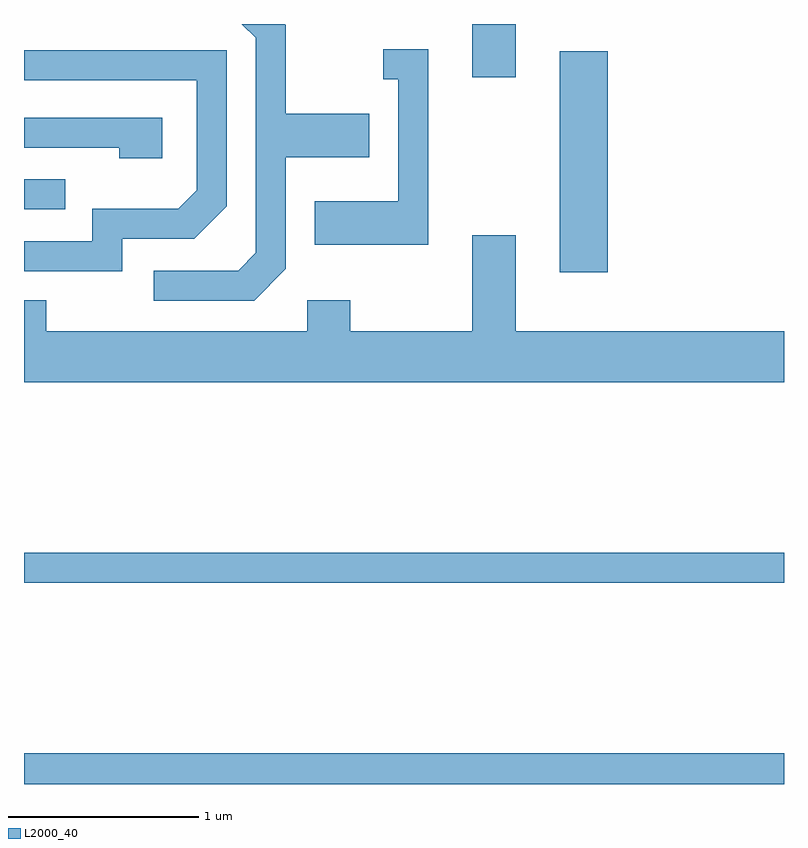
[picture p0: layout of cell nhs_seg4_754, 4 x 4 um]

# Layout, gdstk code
import gdstk
lib = gdstk.Library(unit=1e-6, precision=1e-09)
def R(c, l, rs):  # rectangles x0, y0, x1, y1
    for r in rs: c.add(gdstk.rectangle(r[:2], r[2:], *l))
def P(c, l, *ps):  # polygons
    for p in ps: c.add(gdstk.Polygon(p, *l))
L2000_40 = (2000, 40)

nhs_seg4_754 = lib.new_cell('nhs_seg4_754')
R(nhs_seg4_754, L2000_40, [(207.611,1265.982,211.611,1266.144), (207.611,1267.041,211.611,1267.199), (210.431,1268.676,210.684,1269.839), (207.611,1269.006,207.828,1269.164), (209.971,1269.701,210.199,1269.982)])
P(nhs_seg4_754, L2000_40, [(208.989,1268.694),(208.989,1269.281),(209.429,1269.281),(209.429,1269.509),(208.989,1269.509),(208.989,1269.977),(208.984,1269.982),(208.758,1269.982),(208.831,1269.909),(208.831,1268.777),(208.739,1268.684),(208.293,1268.684),(208.293,1268.526),(208.822,1268.526)],
  [(209.739,1269.849),(209.503,1269.849),(209.503,1269.691),(209.581,1269.691),(209.581,1269.049),(209.141,1269.049),(209.141,1268.821),(209.739,1268.821)],
  [(208.129,1268.851),(208.507,1268.851),(208.679,1269.024),(208.679,1269.844),(207.611,1269.844),(207.611,1269.686),(208.521,1269.686),(208.521,1269.107),(208.424,1269.009),(207.971,1269.009),(207.971,1268.839),(207.611,1268.839),(207.611,1268.681),(208.129,1268.681)],
  [(208.339,1269.489),(207.611,1269.489),(207.611,1269.331),(208.111,1269.331),(208.111,1269.276),(208.339,1269.276)],
  [(211.611,1268.364),(210.199,1268.364),(210.199,1268.869),(209.971,1268.869),(209.971,1268.364),(209.329,1268.364),(209.329,1268.529),(209.101,1268.529),(209.101,1268.364),(207.729,1268.364),(207.729,1268.529),(207.611,1268.529),(207.611,1268.096),(211.611,1268.096)])

lib.write_gds('nhs_seg4_754.gds')
